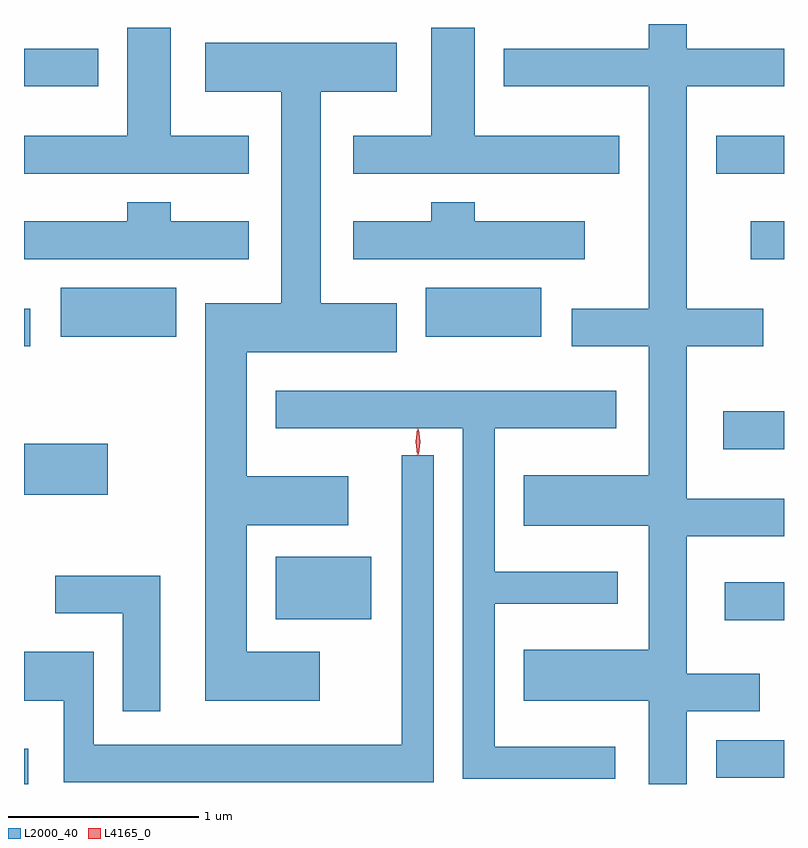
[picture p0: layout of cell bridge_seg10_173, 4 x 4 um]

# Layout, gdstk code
import gdstk
lib = gdstk.Library(unit=1e-6, precision=1e-09)
def R(c, l, rs):  # rectangles x0, y0, x1, y1
    for r in rs: c.add(gdstk.rectangle(r[:2], r[2:], *l))
def P(c, l, *ps):  # polygons
    for p in ps: c.add(gdstk.Polygon(p, *l))
L2000_40 = (2000, 40)
L4165_0 = (4165, 0)

bridge_seg10_173 = lib.new_cell('bridge_seg10_173')
R(bridge_seg10_173, L2000_40, [(1823.682,2140.443,1823.704,2140.629), (1827.326,2140.476,1827.682,2140.674), (1827.371,2141.306,1827.682,2141.504), (1825.006,2141.311,1825.509,2141.639), (1823.682,2141.966,1824.124,2142.234), (1827.361,2142.206,1827.682,2142.404), (1823.682,2142.746,1823.714,2142.944), (1823.876,2142.796,1824.484,2143.054), (1825.796,2142.796,1826.404,2143.054), (1827.506,2143.206,1827.682,2143.404), (1827.326,2143.656,1827.682,2143.854), (1823.682,2144.116,1824.074,2144.314)])
P(bridge_seg10_173, L2000_40, [(1827.169,2140.826),(1827.554,2140.826),(1827.554,2141.024),(1827.169,2141.024),(1827.169,2141.746),(1827.682,2141.746),(1827.682,2141.944),(1827.169,2141.944),(1827.169,2142.746),(1827.574,2142.746),(1827.574,2142.944),(1827.169,2142.944),(1827.169,2144.116),(1827.682,2144.116),(1827.682,2144.314),(1827.169,2144.314),(1827.169,2144.443),(1826.971,2144.443),(1826.971,2144.314),(1826.206,2144.314),(1826.206,2144.116),(1826.971,2144.116),(1826.971,2142.944),(1826.566,2142.944),(1826.566,2142.746),(1826.971,2142.746),(1826.971,2142.069),(1826.311,2142.069),(1826.311,2141.801),(1826.971,2141.801),(1826.971,2141.149),(1826.311,2141.149),(1826.311,2140.881),(1826.971,2140.881),(1826.971,2140.443),(1827.169,2140.443)],
  [(1826.814,2143.854),(1826.054,2143.854),(1826.054,2144.424),(1825.826,2144.424),(1825.826,2143.854),(1825.416,2143.854),(1825.416,2143.656),(1826.814,2143.656)],
  [(1824.864,2143.854),(1824.454,2143.854),(1824.454,2144.424),(1824.226,2144.424),(1824.226,2143.854),(1823.682,2143.854),(1823.682,2143.656),(1824.864,2143.656)],
  [(1825.239,2141.139),(1824.854,2141.139),(1824.854,2141.806),(1825.389,2141.806),(1825.389,2142.064),(1824.854,2142.064),(1824.854,2142.716),(1825.644,2142.716),(1825.644,2142.974),(1825.244,2142.974),(1825.244,2144.086),(1825.644,2144.086),(1825.644,2144.344),(1824.636,2144.344),(1824.636,2144.086),(1825.036,2144.086),(1825.036,2142.974),(1824.636,2142.974),(1824.636,2140.881),(1825.239,2140.881)],
  [(1824.864,2143.404),(1824.454,2143.404),(1824.454,2143.504),(1824.226,2143.504),(1824.226,2143.404),(1823.682,2143.404),(1823.682,2143.206),(1824.864,2143.206)],
  [(1826.634,2143.404),(1826.054,2143.404),(1826.054,2143.504),(1825.826,2143.504),(1825.826,2143.404),(1825.416,2143.404),(1825.416,2143.206),(1826.634,2143.206)],
  [(1826.793,2140.639),(1826.159,2140.639),(1826.159,2141.391),(1826.808,2141.391),(1826.808,2141.559),(1826.159,2141.559),(1826.159,2142.316),(1826.799,2142.316),(1826.799,2142.514),(1825.006,2142.514),(1825.006,2142.316),(1825.991,2142.316),(1825.991,2140.471),(1826.793,2140.471)],
  [(1825.839,2142.173),(1825.671,2142.173),(1825.671,2140.649),(1824.049,2140.649),(1824.049,2141.139),(1823.682,2141.139),(1823.682,2140.881),(1823.891,2140.881),(1823.891,2140.451),(1825.839,2140.451)],
  [(1824.399,2141.539),(1823.846,2141.539),(1823.846,2141.341),(1824.201,2141.341),(1824.201,2140.826),(1824.399,2140.826)])
P(bridge_seg10_173, L4165_0, [(1825.753,2142.174),(1825.752,2142.175),(1825.743,2142.244),(1825.752,2142.313),(1825.753,2142.314),(1825.753,2142.313),(1825.763,2142.244),(1825.753,2142.175)],
  [(1825.758,2142.178),(1825.758,2142.178),(1825.748,2142.244),(1825.758,2142.31),(1825.759,2142.311),(1825.759,2142.31),(1825.768,2142.244),(1825.759,2142.178)])

lib.write_gds('bridge_seg10_173.gds')
